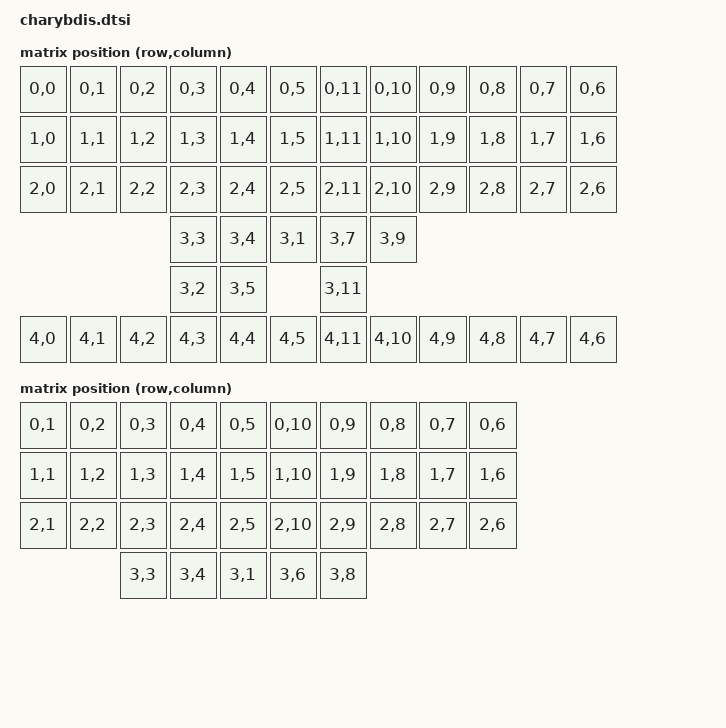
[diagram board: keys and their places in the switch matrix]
#include <dt-bindings/zmk/matrix_transform.h>

/ {
    chosen {
        zmk,kscan = &kscan0;
        zmk,matrix_transform = &default_transform;
    };

    /* Large (4x6) Charybdis/Scylla variant: a 4th main row (row 4, pro_micro
       pin 21 / AVR F4 on the reference Elite-C pinout) plus the full 5-left
       / 3-right thumb cluster, per Bastardkb's published matrix_pins/info.json
       for Scylla and Charybdis (4x6). Rows 0-2, the thumb row's original 5
       positions (36-40) and the main columns are unchanged from the smaller
       variant; row 4 and the 3 extra thumb positions (41-43) are appended so
       nothing already working shifts position. */
    default_transform: keymap_transform_0 {
        compatible = "zmk,matrix-transform";
        columns = <12>;
        rows = <5>;

        map = <
	RC(0,0) RC(0,1) RC(0,2) RC(0,3) RC(0,4) RC(0,5)  RC(0,11) RC(0,10) RC(0,9) RC(0,8) RC(0,7) RC(0,6)
	RC(1,0) RC(1,1) RC(1,2) RC(1,3) RC(1,4) RC(1,5)  RC(1,11) RC(1,10) RC(1,9) RC(1,8) RC(1,7) RC(1,6)
	RC(2,0) RC(2,1) RC(2,2) RC(2,3) RC(2,4) RC(2,5)  RC(2,11) RC(2,10) RC(2,9) RC(2,8) RC(2,7) RC(2,6)
							RC(3,3) RC(3,4) RC(3,1)  RC(3,7)  RC(3,9)
							RC(3,2) RC(3,5)           RC(3,11)
	RC(4,0) RC(4,1) RC(4,2) RC(4,3) RC(4,4) RC(4,5)  RC(4,11) RC(4,10) RC(4,9) RC(4,8) RC(4,7) RC(4,6)
        >;
    };

    five_column_transform: keymap_transform_1 {
        compatible = "zmk,matrix-transform";
        columns = <10>;
        rows = <4>;

        map = <
	RC(0,1) RC(0,2) RC(0,3) RC(0,4) RC(0,5)  RC(0,10) RC(0,9) RC(0,8) RC(0,7) RC(0,6)
	RC(1,1) RC(1,2) RC(1,3) RC(1,4) RC(1,5)  RC(1,10) RC(1,9) RC(1,8) RC(1,7) RC(1,6)
	RC(2,1) RC(2,2) RC(2,3) RC(2,4) RC(2,5)  RC(2,10) RC(2,9) RC(2,8) RC(2,7) RC(2,6)
					RC(3,3) RC(3,4) RC(3,1)  RC(3,6)  RC(3,8)
        >;
    };
	
    kscan0: kscan {
        diode-direction = "row2col";
    };
};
